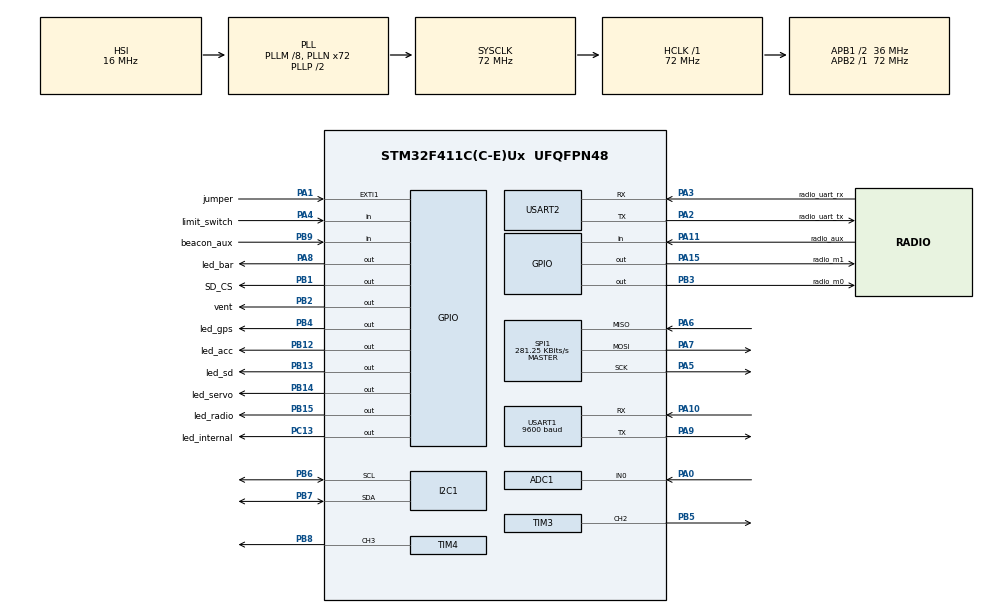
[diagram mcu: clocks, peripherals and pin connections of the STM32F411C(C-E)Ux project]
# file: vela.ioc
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ADC1.Channel-0\#ChannelRegularConversion=ADC_CHANNEL_0
ADC1.ContinuousConvMode=ENABLE
ADC1.NbrOfConversionFlag=1
ADC1.Rank-0\#ChannelRegularConversion=1
ADC1.SamplingTime-0\#ChannelRegularConversion=ADC_SAMPLETIME_3CYCLES
ADC1.master=1
Mcu.Family=STM32F4
Mcu.Name=STM32F411C(C-E)Ux
Mcu.Package=UFQFPN48
NVIC.EXTI1_IRQn=true\:0\:0\:false\:false\:true\:true\:true\:true
NVIC.PriorityGroup=NVIC_PRIORITYGROUP_4
NVIC.TIM2_IRQn=true\:0\:0\:false\:false\:true\:true\:true\:true
NVIC.TIM4_IRQn=true\:0\:0\:false\:false\:true\:true\:true\:true
NVIC.TIM5_IRQn=true\:0\:0\:false\:false\:true\:true\:true\:true
PA0-WKUP.Signal=ADCx_IN0
PA1.GPIO_Label=jumper
PA1.GPIO_ModeDefaultEXTI=GPIO_MODE_IT_RISING
PA1.GPIO_PuPd=GPIO_PULLUP
PA1.Signal=GPXTI1
PA10.Mode=Asynchronous
PA10.Signal=USART1_RX
PA11.GPIO_Label=radio_aux
PA11.Signal=GPIO_Input
PA13.Mode=Serial_Wire
PA13.Signal=SYS_JTMS-SWDIO
PA14.Mode=Serial_Wire
PA14.Signal=SYS_JTCK-SWCLK
PA15.GPIO_Label=radio_m1
PA15.PinState=GPIO_PIN_SET
PA15.Signal=GPIO_Output
PA2.GPIO_Label=radio_uart_tx
PA2.Mode=Asynchronous
PA2.Signal=USART2_TX
PA3.GPIO_Label=radio_uart_rx
PA3.Mode=Asynchronous
PA3.Signal=USART2_RX
PA4.GPIO_Label=limit_switch
PA4.Signal=GPIO_Input
PA5.GPIO_PuPd=GPIO_PULLUP
PA5.GPIO_Speed=GPIO_SPEED_FREQ_LOW
PA5.Mode=Full_Duplex_Master
PA5.Signal=SPI1_SCK
PA6.GPIO_PuPd=GPIO_PULLUP
PA6.GPIO_Speed=GPIO_SPEED_FREQ_LOW
PA6.Mode=Full_Duplex_Master
PA6.Signal=SPI1_MISO
PA7.GPIO_PuPd=GPIO_PULLUP
PA7.GPIO_Speed=GPIO_SPEED_FREQ_LOW
PA7.Mode=Full_Duplex_Master
PA7.Signal=SPI1_MOSI
PA8.GPIO_Label=led_bar
PA8.Signal=GPIO_Output
PA9.Mode=Asynchronous
PA9.Signal=USART1_TX
PB1.GPIO_Label=SD_CS
PB1.GPIO_PuPd=GPIO_PULLUP
PB1.PinState=GPIO_PIN_SET
PB1.Signal=GPIO_Output
PB12.GPIO_Label=led_acc
PB12.Signal=GPIO_Output
PB13.GPIO_Label=led_sd
PB13.PinState=GPIO_PIN_RESET
PB13.Signal=GPIO_Output
PB14.GPIO_Label=led_servo
PB14.Signal=GPIO_Output
PB15.GPIO_Label=led_radio
PB15.Signal=GPIO_Output
PB2.GPIO_Label=vent
PB2.Signal=GPIO_Output
PB3.GPIO_Label=radio_m0
PB3.PinState=GPIO_PIN_SET
PB3.Signal=GPIO_Output
PB4.GPIO_Label=led_gps
PB4.Signal=GPIO_Output
PB5.Signal=S_TIM3_CH2
PB6.Mode=I2C
PB6.Signal=I2C1_SCL
PB7.Mode=I2C
PB7.Signal=I2C1_SDA
PB8.Signal=S_TIM4_CH3
PB9.GPIO_Label=beacon_aux
PB9.Signal=GPIO_Input
PC13-ANTI_TAMP.GPIO_Label=led_internal
PC13-ANTI_TAMP.GPIO_PuPd=GPIO_NOPULL
PC13-ANTI_TAMP.PinState=GPIO_PIN_RESET
PC13-ANTI_TAMP.Signal=GPIO_Output
ProjectManager.HeapSize=0x200
ProjectManager.StackSize=0x400
ProjectManager.TargetToolchain=STM32CubeIDE
RCC.48MHZClocksFreq_Value=36000000
RCC.AHBFreq_Value=72000000
RCC.APB1CLKDivider=RCC_HCLK_DIV2
RCC.APB1Freq_Value=36000000
RCC.APB1TimFreq_Value=72000000
RCC.APB2Freq_Value=72000000
RCC.APB2TimFreq_Value=72000000
RCC.CortexFreq_Value=72000000
RCC.HCLKFreq_Value=72000000
RCC.HSE_VALUE=25000000
RCC.HSI_VALUE=16000000
RCC.LSE_VALUE=32768
RCC.PLLM=8
RCC.PLLN=72
RCC.SYSCLKFreq_VALUE=72000000
RCC.SYSCLKSource=RCC_SYSCLKSOURCE_PLLCLK
RCC.VCOOutputFreq_Value=144000000
SH.ADCx_IN0.0=ADC1_IN0,IN0
SH.S_TIM3_CH2.0=TIM3_CH2,PWM Generation2 CH2
SH.S_TIM4_CH3.0=TIM4_CH3,PWM Generation3 CH3
SPI1.BaudRatePrescaler=SPI_BAUDRATEPRESCALER_256
SPI1.CalculateBaudRate=281.25 KBits/s
SPI1.DataSize=SPI_DATASIZE_8BIT
SPI1.Direction=SPI_DIRECTION_2LINES
SPI1.Mode=SPI_MODE_MASTER
SPI1.VirtualType=VM_MASTER
TIM2.Period=72000000
TIM2.Prescaler=0
TIM3.Channel-PWM\ Generation2\ CH2=TIM_CHANNEL_2
TIM3.Period=143
TIM3.Prescaler=9999
TIM4.Channel-PWM\ Generation3\ CH3=TIM_CHANNEL_3
TIM4.Period=999
TIM4.Prescaler=83
TIM4.Pulse-PWM\ Generation3\ CH3=500
TIM5.Period=19999
TIM5.Prescaler=35999
TIM9.AutoReloadPreload=TIM_AUTORELOAD_PRELOAD_DISABLE
TIM9.Period=0
TIM9.Prescaler=20000
USART1.BaudRate=9600
USART1.VirtualMode=VM_ASYNC
USART2.VirtualMode=VM_ASYNC
VP_FATFS_VS_Generic.Mode=User_defined
VP_TIM2_VS_ClockSourceINT.Mode=Internal
VP_TIM3_VS_ClockSourceINT.Mode=Internal
VP_TIM4_VS_ClockSourceINT.Mode=Internal
VP_TIM5_VS_ClockSourceINT.Mode=Internal
VP_TIM9_VS_ClockSourceINT.Mode=Internal
board=custom

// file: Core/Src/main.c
/* USER CODE BEGIN Header */
/**
 ******************************************************************************
 * @file                                                                       : main.c
 * @brief                                                                      : Main program body
 ******************************************************************************
 * @attention
 *
 * Copyright (c) 2024 STMicroelectronics.
 * All rights reserved.
 *
 * This software is licensed under terms that can be found in the LICENSE file
 * in the root directory of this software component.
 * If no LICENSE file comes with this software, it is provided AS-IS.
 *
 ******************************************************************************
 */
/* USER CODE END Header */
#include "main.h"
#include "adc.h"
#include "fatfs.h"
#include "i2c.h"
#include "spi.h"
#include "tim.h"
#include "usart.h"
#include "gpio.h"

/* USER CODE BEGIN Includes */
#include <stdio.h>
#include <string.h>
#include <stdbool.h>
#include "option/unicode.c"
#include "communication.h"
#include "flight_algorithm.h"
#include "buzzer.h"

/* USER CODE END Includes */

/* USER CODE BEGIN PV */

#define DEBOUNCE_DELAY 100

/* Калибровочные переменные */

/* Для температуры */
/// uint16_t dig_T1[1];

/* USER CODE END PV */

void SystemClock_Config(void);

/* USER CODE BEGIN 0 */

uint32_t last_jumper_interrupt_time = 0;

uint32_t start_time; // Действительное время старта
uint32_t apogy_time; // Действительное время апогея с момента старта
uint32_t landing_time; // Действительное время приземления с момента старта

uint32_t time_to_apogee = 5000; // Расчетное время апогея с момента старта
uint32_t time_to_landing = 15000; // Расчетное время приземления с момента старта
uint32_t time_off = 5000; // Время от момента приземления до отключения

float apogy_height = 0.0f; // Расчетная высота апогея

bool do_read_sensors = false;
bool do_start_flight = false;
bool is_apogy = false;
bool is_landing = false;
// const uint32_t start_height = 0;

/* USER CODE END 0 */

int main(void)
{

  /* MCU Configuration--------------------------------------------------------*/

  /* Reset of all peripherals, Initializes the Flash interface and the Systick. */
  HAL_Init();

  /* Configure the system clock */
  SystemClock_Config();

  /* Initialize all configured peripherals */
  MX_GPIO_Init();
  MX_I2C1_Init();
  MX_SPI1_Init();
  MX_FATFS_Init();
  MX_TIM2_Init();
  MX_USART2_UART_Init();
  MX_TIM5_Init();
  MX_TIM3_Init();
  MX_ADC1_Init();
  MX_USART1_UART_Init();
  MX_TIM4_Init();
  MX_TIM9_Init();
  /* USER CODE BEGIN 2 */

  Message msg = { .text = "⛵ Shellow from SSAU & Vela! ⛵\n\r\0", .sys_state = SYS_STATE_INIT, .sys_area = SYS_AREA_INIT, .priority = PRIORITY_HIGH };
	log_message(&msg);

  buzzer_set_freq(2000);

  //(0) System initialization - start main algorithm
  HAL_GPIO_WritePin(GPIOC, GPIO_PIN_13, GPIO_PIN_SET);

	initialize_system();

  HAL_ADC_Start(&hadc1);

  HAL_GPIO_WritePin(GPIOC, GPIO_PIN_13, GPIO_PIN_RESET);

  /* USER CODE END 2 */

  /* Infinite loop */
  /* USER CODE BEGIN WHILE */

	while (1)
	{
    //(1) Conditions for liftoff met - continue main algoirthm
    if (do_start_flight)
    {
      HAL_GPIO_WritePin(GPIOC, GPIO_PIN_13, GPIO_PIN_SET);
      start_flight();
      start_time = HAL_GetTick(); // Millisecond

      do_start_flight = false;
      HAL_GPIO_WritePin(GPIOC, GPIO_PIN_13, GPIO_PIN_RESET);
    }

    //(2) Conditions for apogy met - continue main algorithm
    if (is_apogy)
    {
      apogy();
      is_apogy = false;
    }

    //Regular sensor read
    if (do_read_sensors)
    {
      read_sensors();
      do_read_sensors = false;
    }

    if (is_landing) {
      landing();
    }

/*
    // Таймер до приземления
    while (HAL_GetTick() - start_time < time_to_landing) {
      if (do_read_sensors) {
        do_read_sensors = false;
        read_sensors(); // Чтение датчиков, отправка и запись данных
      }
      if (check_landing()) {
        is_landing = true;
        break;
      }

      HAL_GPIO_TogglePin(GPIOC, GPIO_PIN_13);
      HAL_Delay(100);
    }

    landing_time = HAL_GetTick() - start_time; // Millisecond

    // Снизить период опроса датчиков и остановить отправку данных по радио
    HAL_TIM_Base_Stop_IT(&SENSORS_READ_TIM_HANDLE);
    HAL_TIM_Base_DeInit(&SENSORS_READ_TIM_HANDLE);

    SENSORS_READ_TIM_HANDLE.Init.Prescaler = 35999; // 72 MHz / 36000 = 2 кГц
    SENSORS_READ_TIM_HANDLE.Init.Period = 3999; // 4000 отсчётов = 2 сек

    HAL_TIM_Base_Init(&SENSORS_READ_TIM_HANDLE);
    HAL_TIM_Base_Start_IT(&SENSORS_READ_TIM_HANDLE);
*/

/*
    // Таймер до выключения платы // Опрос датчиков продолжается
    while (HAL_GetTick() - landing_time < time_off) {
      if (do_read_sensors) {
        do_read_sensors = false;
        read_sensors(); // Чтение датчиков, отправка и запись данных
      }

      HAL_GPIO_TogglePin(GPIOC, GPIO_PIN_13);
      HAL_Delay(200);
      HAL_GPIO_TogglePin(GPIOC, GPIO_PIN_13);
      HAL_Delay(50);
      HAL_GPIO_TogglePin(GPIOC, GPIO_PIN_13);
      HAL_Delay(200);
    }

    // Закончить работу с SD картой и остальными модулями
    // Начинает работу радио-маяк

    break;
*/

    /* USER CODE END WHILE */

	}
}

void SystemClock_Config(void)
{
  RCC_OscInitTypeDef RCC_OscInitStruct = {0};
  RCC_ClkInitTypeDef RCC_ClkInitStruct = {0};

  /** Configure the main internal regulator output voltage
  */
  __HAL_RCC_PWR_CLK_ENABLE();
  __HAL_PWR_VOLTAGESCALING_CONFIG(PWR_REGULATOR_VOLTAGE_SCALE1);

  /** Initializes the RCC Oscillators according to the specified parameters
  * in the RCC_OscInitTypeDef structure.
  */
  RCC_OscInitStruct.OscillatorType = RCC_OSCILLATORTYPE_HSI;
  RCC_OscInitStruct.HSIState = RCC_HSI_ON;
  RCC_OscInitStruct.HSICalibrationValue = RCC_HSICALIBRATION_DEFAULT;
  RCC_OscInitStruct.PLL.PLLState = RCC_PLL_ON;
  RCC_OscInitStruct.PLL.PLLSource = RCC_PLLSOURCE_HSI;
  RCC_OscInitStruct.PLL.PLLM = 8;
  RCC_OscInitStruct.PLL.PLLN = 72;
  RCC_OscInitStruct.PLL.PLLP = RCC_PLLP_DIV2;
  RCC_OscInitStruct.PLL.PLLQ = 4;
  if (HAL_RCC_OscConfig(&RCC_OscInitStruct) != HAL_OK)
  {
    Error_Handler();
  }

  /** Initializes the CPU, AHB and APB buses clocks
  */
  RCC_ClkInitStruct.ClockType = RCC_CLOCKTYPE_HCLK|RCC_CLOCKTYPE_SYSCLK
                              |RCC_CLOCKTYPE_PCLK1|RCC_CLOCKTYPE_PCLK2;
  RCC_ClkInitStruct.SYSCLKSource = RCC_SYSCLKSOURCE_PLLCLK;
  RCC_ClkInitStruct.AHBCLKDivider = RCC_SYSCLK_DIV1;
  RCC_ClkInitStruct.APB1CLKDivider = RCC_HCLK_DIV2;
  RCC_ClkInitStruct.APB2CLKDivider = RCC_HCLK_DIV1;

  if (HAL_RCC_ClockConfig(&RCC_ClkInitStruct, FLASH_LATENCY_2) != HAL_OK)
  {
    Error_Handler();
  }
}

/* USER CODE BEGIN 4 */
//INTERRUPT CALLBACKS

/// @brief EXT = External interrupts
/// @param GPIO_Pin Which pin interrupt came from
void HAL_GPIO_EXTI_Callback(uint16_t GPIO_Pin)
{
  if (GPIO_Pin == JUMPER_PIN) {
    uint32_t current_time = HAL_GetTick();

    // Проверка временного интервала для антидребезга
    if (current_time - last_jumper_interrupt_time > DEBOUNCE_DELAY) {
      last_jumper_interrupt_time = current_time;

      if (HAL_GPIO_ReadPin(JUMPER_PORT, JUMPER_PIN)) {
        do_start_flight = true;
      }
    }
  }
  else {
		__NOP();
	}
}

/// @brief Timer interrupts
/// @param htim Which timer interrupt came from
void HAL_TIM_PeriodElapsedCallback(TIM_HandleTypeDef *htim)
{
	if(htim->Instance == SENSORS_READ_TIM_DEF) //check if the interrupt comes from TIM2
	{
		do_read_sensors = true;
	}

  if (htim->Instance == APOGY_TIM_DEF)
  {
    is_apogy = true;
  }

  if (htim->Instance == FAN_READ_TIM_DEF)
  {
    HAL_GPIO_TogglePin(vent_GPIO_Port, vent_Pin);
  }
}

/* USER CODE END 4 */

void Error_Handler(void)
{
	__disable_irq();
	while (1)
	{
	}
}

#ifdef  USE_FULL_ASSERT
/**
  * @brief  Reports the name of the source file and the source line number
  *         where the assert_param error has occurred.
  * @param  file: pointer to the source file name
  * @param  line: assert_param error line source number
  * @retval None
  */
void assert_failed(uint8_t *file, uint32_t line)
{
  /* USER CODE BEGIN 6 */
	/* User can add his own implementation to report the file name and line number,
	   ex                                                                         : printf("Wrong parameters value: file %s on line %d\r\n", file, line) */
  /* USER CODE END 6 */
}
#endif /* USE_FULL_ASSERT */
